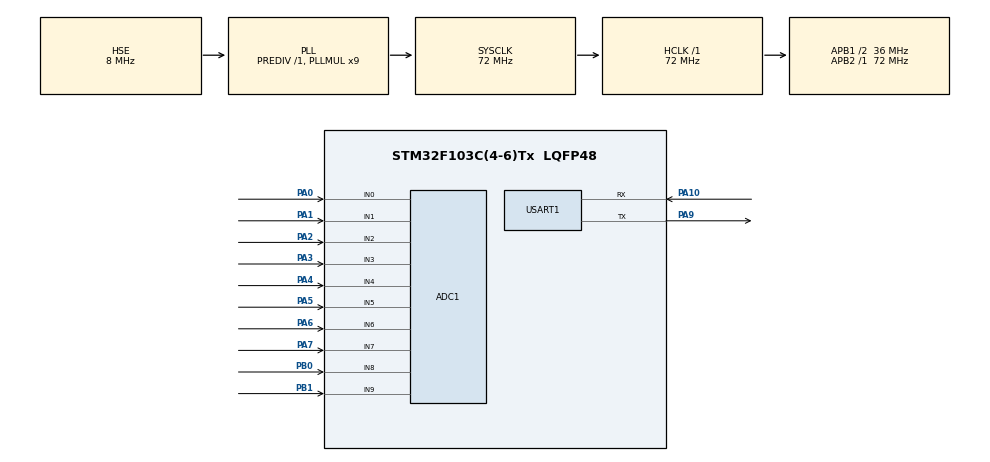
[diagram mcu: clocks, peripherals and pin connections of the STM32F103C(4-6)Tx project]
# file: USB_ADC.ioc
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ADC1.Channel-0\#ChannelRegularConversion=ADC_CHANNEL_0
ADC1.Channel-1\#ChannelRegularConversion=ADC_CHANNEL_1
ADC1.Channel-2\#ChannelRegularConversion=ADC_CHANNEL_2
ADC1.Channel-3\#ChannelRegularConversion=ADC_CHANNEL_3
ADC1.Channel-4\#ChannelRegularConversion=ADC_CHANNEL_4
ADC1.Channel-5\#ChannelRegularConversion=ADC_CHANNEL_5
ADC1.Channel-6\#ChannelRegularConversion=ADC_CHANNEL_6
ADC1.Channel-7\#ChannelRegularConversion=ADC_CHANNEL_7
ADC1.Channel-8\#ChannelRegularConversion=ADC_CHANNEL_8
ADC1.Channel-9\#ChannelRegularConversion=ADC_CHANNEL_9
ADC1.ContinuousConvMode=ENABLE
ADC1.NbrOfConversion=10
ADC1.NbrOfConversionFlag=1
ADC1.Rank-0\#ChannelRegularConversion=1
ADC1.Rank-1\#ChannelRegularConversion=2
ADC1.Rank-2\#ChannelRegularConversion=3
ADC1.Rank-3\#ChannelRegularConversion=4
ADC1.Rank-4\#ChannelRegularConversion=5
ADC1.Rank-5\#ChannelRegularConversion=6
ADC1.Rank-6\#ChannelRegularConversion=7
ADC1.Rank-7\#ChannelRegularConversion=8
ADC1.Rank-8\#ChannelRegularConversion=9
ADC1.Rank-9\#ChannelRegularConversion=10
ADC1.SamplingTime-0\#ChannelRegularConversion=ADC_SAMPLETIME_239CYCLES_5
ADC1.SamplingTime-1\#ChannelRegularConversion=ADC_SAMPLETIME_239CYCLES_5
ADC1.SamplingTime-2\#ChannelRegularConversion=ADC_SAMPLETIME_239CYCLES_5
ADC1.SamplingTime-3\#ChannelRegularConversion=ADC_SAMPLETIME_239CYCLES_5
ADC1.SamplingTime-4\#ChannelRegularConversion=ADC_SAMPLETIME_239CYCLES_5
ADC1.SamplingTime-5\#ChannelRegularConversion=ADC_SAMPLETIME_239CYCLES_5
ADC1.SamplingTime-6\#ChannelRegularConversion=ADC_SAMPLETIME_239CYCLES_5
ADC1.SamplingTime-7\#ChannelRegularConversion=ADC_SAMPLETIME_239CYCLES_5
ADC1.SamplingTime-8\#ChannelRegularConversion=ADC_SAMPLETIME_239CYCLES_5
ADC1.SamplingTime-9\#ChannelRegularConversion=ADC_SAMPLETIME_239CYCLES_5
ADC1.master=1
Dma.ADC1.0.Direction=DMA_PERIPH_TO_MEMORY
Dma.ADC1.0.Instance=DMA1_Channel1
Dma.ADC1.0.MemDataAlignment=DMA_MDATAALIGN_HALFWORD
Dma.ADC1.0.MemInc=DMA_MINC_ENABLE
Dma.ADC1.0.Mode=DMA_CIRCULAR
Dma.ADC1.0.PeriphDataAlignment=DMA_PDATAALIGN_HALFWORD
Dma.ADC1.0.PeriphInc=DMA_PINC_DISABLE
Dma.ADC1.0.Priority=DMA_PRIORITY_LOW
Dma.Request0=ADC1
Mcu.Family=STM32F1
Mcu.Name=STM32F103C(4-6)Tx
Mcu.Package=LQFP48
NVIC.ADC1_2_IRQn=true\:0\:0\:false\:false\:true\:true\:true\:true
NVIC.DMA1_Channel1_IRQn=true\:0\:0\:false\:false\:true\:false\:true\:true
NVIC.PriorityGroup=NVIC_PRIORITYGROUP_4
PA0-WKUP.Signal=ADCx_IN0
PA1.Signal=ADCx_IN1
PA10.Mode=Asynchronous
PA10.Signal=USART1_RX
PA2.Signal=ADCx_IN2
PA3.Signal=ADCx_IN3
PA4.Signal=ADCx_IN4
PA5.Signal=ADCx_IN5
PA6.Signal=ADCx_IN6
PA7.Signal=ADCx_IN7
PA9.Mode=Asynchronous
PA9.Signal=USART1_TX
PB0.Signal=ADCx_IN8
PB1.Signal=ADCx_IN9
PD0-OSC_IN.Mode=HSE-External-Oscillator
PD0-OSC_IN.Signal=RCC_OSC_IN
PD1-OSC_OUT.Mode=HSE-External-Oscillator
PD1-OSC_OUT.Signal=RCC_OSC_OUT
ProjectManager.HeapSize=0x200
ProjectManager.StackSize=0x400
ProjectManager.TargetToolchain=CMake
RCC.ADCPresc=RCC_ADCPCLK2_DIV6
RCC.AHBFreq_Value=72000000
RCC.APB1CLKDivider=RCC_HCLK_DIV2
RCC.APB1Freq_Value=36000000
RCC.APB1TimFreq_Value=72000000
RCC.APB2Freq_Value=72000000
RCC.APB2TimFreq_Value=72000000
RCC.HCLKFreq_Value=72000000
RCC.PLLMUL=RCC_PLL_MUL9
RCC.PLLSourceVirtual=RCC_PLLSOURCE_HSE
RCC.SYSCLKFreq_VALUE=72000000
RCC.SYSCLKSource=RCC_SYSCLKSOURCE_PLLCLK
RCC.USBFreq_Value=72000000
SH.ADCx_IN0.0=ADC1_IN0,IN0
SH.ADCx_IN1.0=ADC1_IN1,IN1
SH.ADCx_IN2.0=ADC1_IN2,IN2
SH.ADCx_IN3.0=ADC1_IN3,IN3
SH.ADCx_IN4.0=ADC1_IN4,IN4
SH.ADCx_IN5.0=ADC1_IN5,IN5
SH.ADCx_IN6.0=ADC1_IN6,IN6
SH.ADCx_IN7.0=ADC1_IN7,IN7
SH.ADCx_IN8.0=ADC1_IN8,IN8
SH.ADCx_IN9.0=ADC1_IN9,IN9
USART1.VirtualMode=VM_ASYNC
VP_SYS_VS_ND.Mode=No_Debug
board=custom

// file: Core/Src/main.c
/* USER CODE BEGIN Header */
/**
  ******************************************************************************
  * @file           : main.c
  * @brief          : Main program body
  ******************************************************************************
  * @attention
  *
  * Copyright (c) 2026 STMicroelectronics.
  * All rights reserved.
  *
  * This software is licensed under terms that can be found in the LICENSE file
  * in the root directory of this software component.
  * If no LICENSE file comes with this software, it is provided AS-IS.
  *
  ******************************************************************************
  */
/* USER CODE END Header */
#include "main.h"

/* USER CODE BEGIN PD */
#define USB_ADC_VERSION   "USB_ADC v2.0 03/11/2026"  //!< Identification renvoyée par la commande 'V'
#define ADC_NB_CH         10               //!< Voies converties : ADC1 IN0..IN9 = PA0..PA7, PB0, PB1 (rangs 1 à 10)
#define ADC_NB_SCAN       64               //!< Nombre de scans mémorisés par le DMA (profondeur de la moyenne)
/* USER CODE END PD */

ADC_HandleTypeDef hadc1;
DMA_HandleTypeDef hdma_adc1;

UART_HandleTypeDef huart1;

/* USER CODE BEGIN PV */
/* Tampon DMA circulaire : ADC_NB_SCAN scans successifs de ADC_NB_CH voies. La moyenne est calculée à la demande sur
 * tout le tampon : moyenne glissante des ADC_NB_SCAN derniers scans (≈ 11 ms), sans traitement en IT. */
static volatile uint16_t adc_dma[ADC_NB_SCAN * ADC_NB_CH];
/* USER CODE END PV */

void SystemClock_Config(void);
static void MX_GPIO_Init(void);
static void MX_DMA_Init(void);
static void MX_ADC1_Init(void);
static void MX_USART1_UART_Init(void);
/* USER CODE BEGIN PFP */
static uint16_t ADC_mean(uint32_t ch);
static void UART_send_value(uint32_t value, char end);
static void UART_send_str(const char *str);
static void CMD_process(uint8_t c);
/* USER CODE END PFP */

int main(void)
{

  /* MCU Configuration--------------------------------------------------------*/

  /* Reset of all peripherals, Initializes the Flash interface and the Systick. */
  HAL_Init();

  /* Configure the system clock */
  SystemClock_Config();

  /* Initialize all configured peripherals */
  MX_GPIO_Init();
  MX_DMA_Init();
  MX_ADC1_Init();
  MX_USART1_UART_Init();
  /* USER CODE BEGIN 2 */
  HAL_ADCEx_Calibration_Start(&hadc1); // étalonnage interne de l'ADC F1, à faire ADC arrêté
  HAL_ADC_Start_DMA(&hadc1, (uint32_t *)adc_dma, ADC_NB_SCAN * ADC_NB_CH); // scan continu, DMA circulaire
  /* USER CODE END 2 */

  /* Infinite loop */
  while (1)
  {

    /* USER CODE BEGIN 3 */
    /* Réception par scrutation (pas d'IT USART) : lire SR puis DR efface aussi un éventuel overrun */
    if (USART1->SR & (USART_SR_RXNE | USART_SR_ORE))
    {
      CMD_process((uint8_t)USART1->DR);
    }
  }
  /* USER CODE END 3 */
}

void SystemClock_Config(void)
{
  RCC_OscInitTypeDef RCC_OscInitStruct = {0};
  RCC_ClkInitTypeDef RCC_ClkInitStruct = {0};
  RCC_PeriphCLKInitTypeDef PeriphClkInit = {0};

  /** Initializes the RCC Oscillators according to the specified parameters
  * in the RCC_OscInitTypeDef structure.
  */
  RCC_OscInitStruct.OscillatorType = RCC_OSCILLATORTYPE_HSE;
  RCC_OscInitStruct.HSEState = RCC_HSE_ON;
  RCC_OscInitStruct.HSEPredivValue = RCC_HSE_PREDIV_DIV1;
  RCC_OscInitStruct.HSIState = RCC_HSI_ON;
  RCC_OscInitStruct.PLL.PLLState = RCC_PLL_ON;
  RCC_OscInitStruct.PLL.PLLSource = RCC_PLLSOURCE_HSE;
  RCC_OscInitStruct.PLL.PLLMUL = RCC_PLL_MUL9;
  if (HAL_RCC_OscConfig(&RCC_OscInitStruct) != HAL_OK)
  {
    Error_Handler();
  }

  /** Initializes the CPU, AHB and APB buses clocks
  */
  RCC_ClkInitStruct.ClockType = RCC_CLOCKTYPE_HCLK|RCC_CLOCKTYPE_SYSCLK
                              |RCC_CLOCKTYPE_PCLK1|RCC_CLOCKTYPE_PCLK2;
  RCC_ClkInitStruct.SYSCLKSource = RCC_SYSCLKSOURCE_PLLCLK;
  RCC_ClkInitStruct.AHBCLKDivider = RCC_SYSCLK_DIV1;
  RCC_ClkInitStruct.APB1CLKDivider = RCC_HCLK_DIV2;
  RCC_ClkInitStruct.APB2CLKDivider = RCC_HCLK_DIV1;

  if (HAL_RCC_ClockConfig(&RCC_ClkInitStruct, FLASH_LATENCY_2) != HAL_OK)
  {
    Error_Handler();
  }
  PeriphClkInit.PeriphClockSelection = RCC_PERIPHCLK_ADC;
  PeriphClkInit.AdcClockSelection = RCC_ADCPCLK2_DIV6;
  if (HAL_RCCEx_PeriphCLKConfig(&PeriphClkInit) != HAL_OK)
  {
    Error_Handler();
  }
}

static void MX_ADC1_Init(void)
{

  ADC_ChannelConfTypeDef sConfig = {0};

  /** Common config
  */
  hadc1.Instance = ADC1;
  hadc1.Init.ScanConvMode = ADC_SCAN_ENABLE;
  hadc1.Init.ContinuousConvMode = ENABLE;
  hadc1.Init.DiscontinuousConvMode = DISABLE;
  hadc1.Init.ExternalTrigConv = ADC_SOFTWARE_START;
  hadc1.Init.DataAlign = ADC_DATAALIGN_RIGHT;
  hadc1.Init.NbrOfConversion = 10;
  if (HAL_ADC_Init(&hadc1) != HAL_OK)
  {
    Error_Handler();
  }

  /** Configure Regular Channel
  */
  sConfig.Channel = ADC_CHANNEL_0;
  sConfig.Rank = ADC_REGULAR_RANK_1;
  sConfig.SamplingTime = ADC_SAMPLETIME_239CYCLES_5;
  if (HAL_ADC_ConfigChannel(&hadc1, &sConfig) != HAL_OK)
  {
    Error_Handler();
  }

  /** Configure Regular Channel
  */
  sConfig.Channel = ADC_CHANNEL_1;
  sConfig.Rank = ADC_REGULAR_RANK_2;
  if (HAL_ADC_ConfigChannel(&hadc1, &sConfig) != HAL_OK)
  {
    Error_Handler();
  }

  /** Configure Regular Channel
  */
  sConfig.Channel = ADC_CHANNEL_2;
  sConfig.Rank = ADC_REGULAR_RANK_3;
  if (HAL_ADC_ConfigChannel(&hadc1, &sConfig) != HAL_OK)
  {
    Error_Handler();
  }

  /** Configure Regular Channel
  */
  sConfig.Channel = ADC_CHANNEL_3;
  sConfig.Rank = ADC_REGULAR_RANK_4;
  if (HAL_ADC_ConfigChannel(&hadc1, &sConfig) != HAL_OK)
  {
    Error_Handler();
  }

  /** Configure Regular Channel
  */
  sConfig.Channel = ADC_CHANNEL_4;
  sConfig.Rank = ADC_REGULAR_RANK_5;
  if (HAL_ADC_ConfigChannel(&hadc1, &sConfig) != HAL_OK)
  {
    Error_Handler();
  }

  /** Configure Regular Channel
  */
  sConfig.Channel = ADC_CHANNEL_5;
  sConfig.Rank = ADC_REGULAR_RANK_6;
  if (HAL_ADC_ConfigChannel(&hadc1, &sConfig) != HAL_OK)
  {
    Error_Handler();
  }

  /** Configure Regular Channel
  */
  sConfig.Channel = ADC_CHANNEL_6;
  sConfig.Rank = ADC_REGULAR_RANK_7;
  if (HAL_ADC_ConfigChannel(&hadc1, &sConfig) != HAL_OK)
  {
    Error_Handler();
  }

  /** Configure Regular Channel
  */
  sConfig.Channel = ADC_CHANNEL_7;
  sConfig.Rank = ADC_REGULAR_RANK_8;
  if (HAL_ADC_ConfigChannel(&hadc1, &sConfig) != HAL_OK)
  {
    Error_Handler();
  }

  /** Configure Regular Channel
  */
  sConfig.Channel = ADC_CHANNEL_8;
  sConfig.Rank = ADC_REGULAR_RANK_9;
  if (HAL_ADC_ConfigChannel(&hadc1, &sConfig) != HAL_OK)
  {
    Error_Handler();
  }

  /** Configure Regular Channel
  */
  sConfig.Channel = ADC_CHANNEL_9;
  sConfig.Rank = ADC_REGULAR_RANK_10;
  if (HAL_ADC_ConfigChannel(&hadc1, &sConfig) != HAL_OK)
  {
    Error_Handler();
  }

}

static void MX_USART1_UART_Init(void)
{

  huart1.Instance = USART1;
  huart1.Init.BaudRate = 115200;
  huart1.Init.WordLength = UART_WORDLENGTH_8B;
  huart1.Init.StopBits = UART_STOPBITS_1;
  huart1.Init.Parity = UART_PARITY_NONE;
  huart1.Init.Mode = UART_MODE_TX_RX;
  huart1.Init.HwFlowCtl = UART_HWCONTROL_NONE;
  huart1.Init.OverSampling = UART_OVERSAMPLING_16;
  if (HAL_UART_Init(&huart1) != HAL_OK)
  {
    Error_Handler();
  }

}

static void MX_DMA_Init(void)
{

  /* DMA controller clock enable */
  __HAL_RCC_DMA1_CLK_ENABLE();

  /* DMA interrupt init */
  /* DMA1_Channel1_IRQn interrupt configuration */
  HAL_NVIC_SetPriority(DMA1_Channel1_IRQn, 0, 0);
  HAL_NVIC_EnableIRQ(DMA1_Channel1_IRQn);

}

static void MX_GPIO_Init(void)
{

  /* GPIO Ports Clock Enable */
  __HAL_RCC_GPIOD_CLK_ENABLE();
  __HAL_RCC_GPIOA_CLK_ENABLE();
  __HAL_RCC_GPIOB_CLK_ENABLE();

}

/* USER CODE BEGIN 4 */
/**
 * @brief Moyenne d'une voie sur les ADC_NB_SCAN derniers scans.
 * @param ch voie 0..ADC_NB_CH-1 (IN0..IN7)
 * @return moyenne arrondie, 0..4095
 */
static uint16_t ADC_mean(uint32_t ch)
{
  uint32_t sum = 0;
  for (uint32_t i = ch; i < ADC_NB_SCAN * ADC_NB_CH; i += ADC_NB_CH)
  {
    sum += adc_dma[i];
  }
  return (uint16_t)((sum + ADC_NB_SCAN / 2) / ADC_NB_SCAN);
}

/**
 * @brief Émission d'une valeur décimale suivie d'un caractère de fin (' ' ou '\n').
 */
static void UART_send_value(uint32_t value, char end)
{
  char buf[12];
  uint32_t i = sizeof(buf);
  buf[--i] = end;
  do
  {
    buf[--i] = (char)('0' + value % 10);
    value /= 10;
  } while (value != 0);
  HAL_UART_Transmit(&huart1, (uint8_t *)&buf[i], sizeof(buf) - i, 10);
}

/**
 * @brief Émission d'une chaîne terminée par 0.
 */
static void UART_send_str(const char *str)
{
  uint16_t len = 0;
  while (str[len] != 0)
  {
    len++;
  }
  HAL_UART_Transmit(&huart1, (uint8_t *)str, len, 10);
}

/**
 * @brief Traitement d'une commande : un caractère, sensible à la casse, protocole identique au firmware d'origine
 *        du module (v1.4) :
 *        - '0'..'9' : valeur de la voie, 0..4095, terminée par '\n' ;
 *        - 'A' : toutes les voies, chacune suivie d'un espace, puis '\n' ;
 *        - 'V' : identification du firmware, terminée par '\n' ;
 *        - tout autre caractère (dont '\r', '\n', minuscules, voie non convertie) : "?\n".
 */
static void CMD_process(uint8_t c)
{
  if (c >= '0' && c < '0' + ADC_NB_CH)
  {
    UART_send_value(ADC_mean(c - '0'), '\n');
  }
  else if (c == 'A')
  {
    for (uint32_t ch = 0; ch < ADC_NB_CH; ch++)
    {
      UART_send_value(ADC_mean(ch), ' ');
    }
    UART_send_str("\n");
  }
  else if (c == 'V')
  {
    UART_send_str(USB_ADC_VERSION "\n");
  }
  else
  {
    UART_send_str("?\n");
  }
}
/* USER CODE END 4 */

void Error_Handler(void)
{
  __disable_irq();
  while (1)
  {
  }
}
